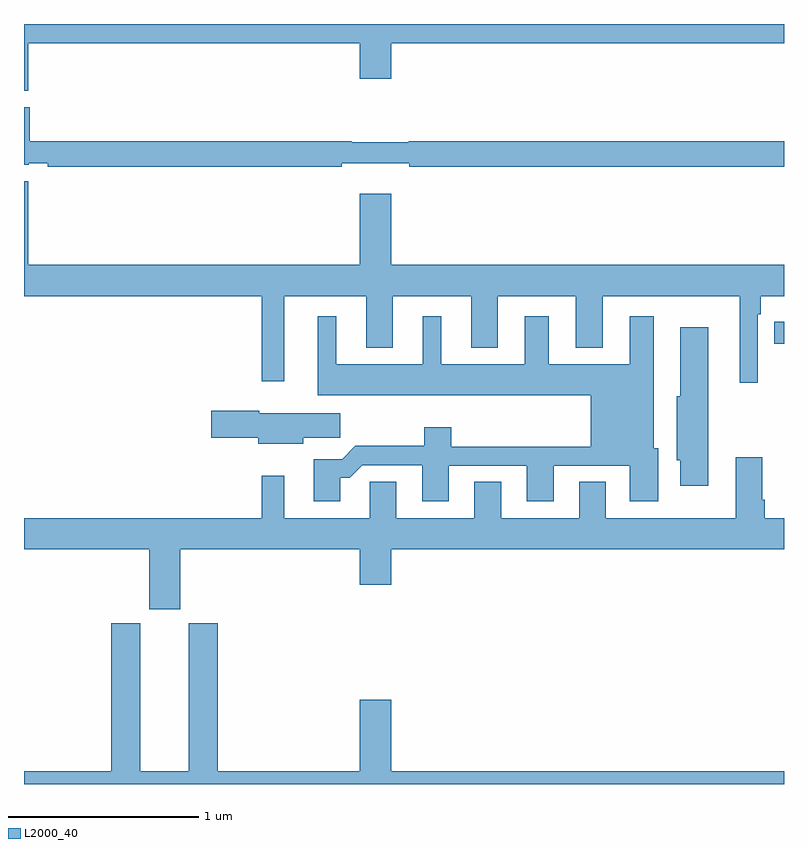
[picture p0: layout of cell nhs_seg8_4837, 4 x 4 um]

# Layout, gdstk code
import gdstk
lib = gdstk.Library(unit=1e-6, precision=1e-09)
def R(c, l, rs):  # rectangles x0, y0, x1, y1
    for r in rs: c.add(gdstk.rectangle(r[:2], r[2:], *l))
def P(c, l, *ps):  # polygons
    for p in ps: c.add(gdstk.Polygon(p, *l))
L2000_40 = (2000, 40)

nhs_seg8_4837 = lib.new_cell('nhs_seg8_4837')
R(nhs_seg8_4837, L2000_40, [(406.948,1148.218,407,1148.334)])
P(nhs_seg8_4837, L2000_40, [(403.022,1149.8),(404.768,1149.8),(404.768,1149.612),(404.932,1149.612),(404.932,1149.8),(407,1149.8),(407,1149.9),(403,1149.9),(403,1149.548),(403.022,1149.548)],
  [(404.672,1149.167),(405.028,1149.167),(405.028,1149.148),(407,1149.148),(407,1149.284),(405.026,1149.284),(405.026,1149.277),(404.726,1149.277),(404.726,1149.284),(403.03,1149.284),(403.03,1149.463),(403,1149.463),(403,1149.158),(403.026,1149.158),(403.026,1149.168),(403.126,1149.168),(403.126,1149.148),(404.672,1149.148)],
  [(406.863,1148.372),(406.877,1148.372),(406.877,1148.468),(407,1148.468),(407,1148.632),(404.932,1148.632),(404.932,1149.007),(404.768,1149.007),(404.768,1148.632),(403.022,1148.632),(403.022,1149.073),(403,1149.073),(403,1148.468),(404.25,1148.468),(404.25,1148.019),(404.371,1148.019),(404.371,1148.468),(404.801,1148.468),(404.801,1148.195),(404.941,1148.195),(404.941,1148.468),(405.353,1148.468),(405.353,1148.195),(405.493,1148.195),(405.493,1148.468),(405.905,1148.468),(405.905,1148.195),(406.045,1148.195),(406.045,1148.468),(406.766,1148.468),(406.766,1148.013),(406.863,1148.013)],
  [(404.665,1147.511),(404.714,1147.511),(404.781,1147.578),(405.095,1147.578),(405.095,1147.389),(405.235,1147.389),(405.235,1147.575),(405.647,1147.575),(405.647,1147.389),(405.787,1147.389),(405.787,1147.575),(406.187,1147.575),(406.187,1147.389),(406.339,1147.389),(406.339,1147.668),(406.315,1147.668),(406.315,1148.362),(406.187,1148.362),(406.187,1148.11),(405.763,1148.11),(405.763,1148.362),(405.635,1148.362),(405.635,1148.11),(405.196,1148.11),(405.196,1148.362),(405.098,1148.362),(405.098,1148.11),(404.644,1148.11),(404.644,1148.362),(404.546,1148.362),(404.546,1147.946),(405.983,1147.946),(405.983,1147.676),(405.248,1147.676),(405.248,1147.777),(405.106,1147.777),(405.106,1147.679),(404.744,1147.679),(404.674,1147.609),(404.525,1147.609),(404.525,1147.389),(404.665,1147.389)],
  [(406.6,1148.305),(406.454,1148.305),(406.454,1147.941),(406.436,1147.941),(406.436,1147.605),(406.454,1147.605),(406.454,1147.47),(406.6,1147.47)],
  [(404.47,1147.723),(404.665,1147.723),(404.665,1147.852),(404.238,1147.852),(404.238,1147.865),(403.986,1147.865),(403.986,1147.723),(404.234,1147.723),(404.234,1147.691),(404.47,1147.691)],
  [(403.822,1147.136),(404.768,1147.136),(404.768,1146.948),(404.932,1146.948),(404.932,1147.136),(407,1147.136),(407,1147.3),(406.898,1147.3),(406.898,1147.396),(406.885,1147.396),(406.885,1147.621),(406.745,1147.621),(406.745,1147.3),(406.063,1147.3),(406.063,1147.49),(405.923,1147.49),(405.923,1147.3),(405.511,1147.3),(405.511,1147.49),(405.371,1147.49),(405.371,1147.3),(404.959,1147.3),(404.959,1147.49),(404.82,1147.49),(404.82,1147.3),(404.371,1147.3),(404.371,1147.522),(404.25,1147.522),(404.25,1147.3),(403,1147.3),(403,1147.136),(403.658,1147.136),(403.658,1146.819),(403.822,1146.819)],
  [(403.868,1146.747),(403.868,1145.968),(403.612,1145.968),(403.612,1146.747),(403.46,1146.747),(403.46,1145.968),(403,1145.968),(403,1145.9),(407,1145.9),(407,1145.968),(404.932,1145.968),(404.932,1146.343),(404.768,1146.343),(404.768,1145.968),(404.021,1145.968),(404.021,1146.747)])

lib.write_gds('nhs_seg8_4837.gds')
